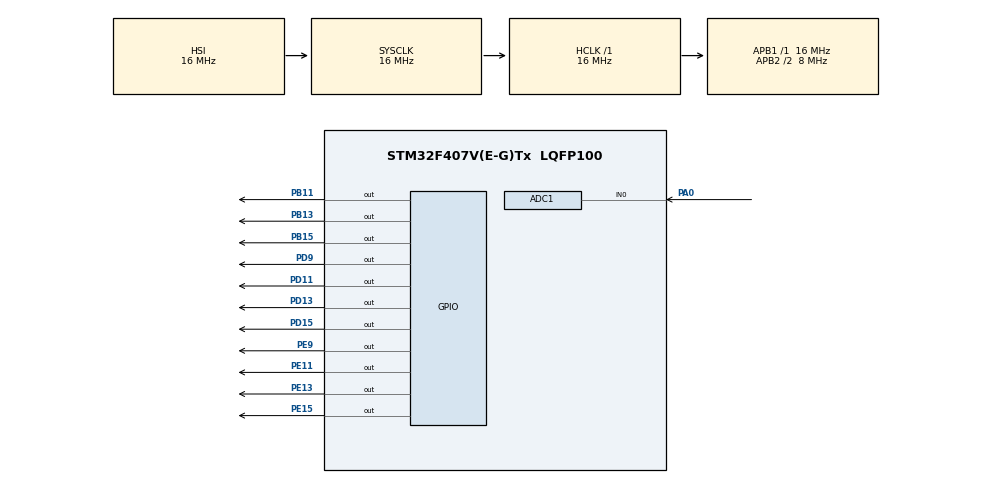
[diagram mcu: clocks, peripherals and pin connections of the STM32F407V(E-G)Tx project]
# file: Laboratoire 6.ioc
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ADC1.Channel-0\#ChannelRegularConversion=ADC_CHANNEL_0
ADC1.Channel-1\#ChannelInjectedConversion=ADC_CHANNEL_0
ADC1.ClockPrescaler=ADC_CLOCK_SYNC_PCLK_DIV2
ADC1.ContinuousConvMode=DISABLE
ADC1.DMAContinuousRequests=ENABLE
ADC1.DataAlign=ADC_DATAALIGN_RIGHT
ADC1.DiscontinuousConvMode=DISABLE
ADC1.EOCSelection=ADC_EOC_SINGLE_CONV
ADC1.EnableAnalogWatchDog=false
ADC1.ExternalTrigConv=ADC_SOFTWARE_START
ADC1.ExternalTrigConvEdge=ADC_EXTERNALTRIGCONVEDGE_NONE
ADC1.ExternalTrigInjecConv=ADC_INJECTED_SOFTWARE_START
ADC1.ExternalTrigInjecConvEdge=ADC_EXTERNALTRIGINJECCONVEDGE_NONE
ADC1.InjNumberOfConversion=1
ADC1.InjectedConvMode=None
ADC1.InjectedOffset-1\#ChannelInjectedConversion=0
ADC1.NbrOfConversion=1
ADC1.NbrOfConversionFlag=1
ADC1.Rank-0\#ChannelRegularConversion=1
ADC1.Rank-1\#ChannelInjectedConversion=1
ADC1.Resolution=ADC_RESOLUTION_12B
ADC1.SamplingTime-0\#ChannelRegularConversion=ADC_SAMPLETIME_3CYCLES
ADC1.SamplingTime-1\#ChannelInjectedConversion=ADC_SAMPLETIME_3CYCLES
ADC1.ScanConvMode=DISABLE
ADC1.master=1
Dma.ADC1.0.Direction=DMA_PERIPH_TO_MEMORY
Dma.ADC1.0.FIFOMode=DMA_FIFOMODE_DISABLE
Dma.ADC1.0.Instance=DMA2_Stream0
Dma.ADC1.0.MemDataAlignment=DMA_MDATAALIGN_HALFWORD
Dma.ADC1.0.MemInc=DMA_MINC_ENABLE
Dma.ADC1.0.Mode=DMA_CIRCULAR
Dma.ADC1.0.PeriphDataAlignment=DMA_PDATAALIGN_HALFWORD
Dma.ADC1.0.PeriphInc=DMA_PINC_DISABLE
Dma.ADC1.0.Priority=DMA_PRIORITY_VERY_HIGH
Dma.Request0=ADC1
Mcu.Family=STM32F4
Mcu.Name=STM32F407V(E-G)Tx
Mcu.Package=LQFP100
NVIC.DMA2_Stream0_IRQn=true\:0\:0\:false\:false\:true\:false
NVIC.PriorityGroup=NVIC_PRIORITYGROUP_4
NVIC.TIM2_IRQn=true\:0\:0\:false\:false\:true\:true
PA0-WKUP.Signal=ADCx_IN0
PB11.GPIO_ModeDefaultOutputPP=GPIO_MODE_OUTPUT_PP
PB11.GPIO_PuPd=GPIO_NOPULL
PB11.GPIO_Speed=GPIO_SPEED_FREQ_LOW
PB11.PinState=GPIO_PIN_RESET
PB11.Signal=GPIO_Output
PB13.GPIO_ModeDefaultOutputPP=GPIO_MODE_OUTPUT_PP
PB13.GPIO_PuPd=GPIO_NOPULL
PB13.GPIO_Speed=GPIO_SPEED_FREQ_LOW
PB13.PinState=GPIO_PIN_RESET
PB13.Signal=GPIO_Output
PB15.GPIO_ModeDefaultOutputPP=GPIO_MODE_OUTPUT_PP
PB15.GPIO_PuPd=GPIO_NOPULL
PB15.GPIO_Speed=GPIO_SPEED_FREQ_LOW
PB15.PinState=GPIO_PIN_RESET
PB15.Signal=GPIO_Output
PD11.GPIO_ModeDefaultOutputPP=GPIO_MODE_OUTPUT_PP
PD11.GPIO_PuPd=GPIO_NOPULL
PD11.GPIO_Speed=GPIO_SPEED_FREQ_LOW
PD11.PinState=GPIO_PIN_RESET
PD11.Signal=GPIO_Output
PD13.GPIO_ModeDefaultOutputPP=GPIO_MODE_OUTPUT_PP
PD13.GPIO_PuPd=GPIO_NOPULL
PD13.GPIO_Speed=GPIO_SPEED_FREQ_LOW
PD13.PinState=GPIO_PIN_RESET
PD13.Signal=GPIO_Output
PD15.GPIO_ModeDefaultOutputPP=GPIO_MODE_OUTPUT_PP
PD15.GPIO_PuPd=GPIO_NOPULL
PD15.GPIO_Speed=GPIO_SPEED_FREQ_LOW
PD15.PinState=GPIO_PIN_RESET
PD15.Signal=GPIO_Output
PD9.GPIO_ModeDefaultOutputPP=GPIO_MODE_OUTPUT_PP
PD9.GPIO_PuPd=GPIO_NOPULL
PD9.GPIO_Speed=GPIO_SPEED_FREQ_LOW
PD9.PinState=GPIO_PIN_RESET
PD9.Signal=GPIO_Output
PE11.GPIO_ModeDefaultOutputPP=GPIO_MODE_OUTPUT_PP
PE11.GPIO_PuPd=GPIO_NOPULL
PE11.GPIO_Speed=GPIO_SPEED_FREQ_LOW
PE11.PinState=GPIO_PIN_RESET
PE11.Signal=GPIO_Output
PE13.GPIO_ModeDefaultOutputPP=GPIO_MODE_OUTPUT_PP
PE13.GPIO_PuPd=GPIO_NOPULL
PE13.GPIO_Speed=GPIO_SPEED_FREQ_LOW
PE13.PinState=GPIO_PIN_RESET
PE13.Signal=GPIO_Output
PE15.GPIO_ModeDefaultOutputPP=GPIO_MODE_OUTPUT_PP
PE15.GPIO_PuPd=GPIO_NOPULL
PE15.GPIO_Speed=GPIO_SPEED_FREQ_LOW
PE15.PinState=GPIO_PIN_RESET
PE15.Signal=GPIO_Output
PE9.GPIO_ModeDefaultOutputPP=GPIO_MODE_OUTPUT_PP
PE9.GPIO_PuPd=GPIO_NOPULL
PE9.GPIO_Speed=GPIO_SPEED_FREQ_LOW
PE9.PinState=GPIO_PIN_RESET
PE9.Signal=GPIO_Output
ProjectManager.HeapSize=0x200
ProjectManager.StackSize=0x400
ProjectManager.TargetToolchain=MDK-ARM V5
RCC.AHBFreq_Value=16000000
RCC.APB1Freq_Value=16000000
RCC.APB1TimFreq_Value=16000000
RCC.APB2CLKDivider=RCC_HCLK_DIV2
RCC.APB2Freq_Value=8000000
RCC.APB2TimFreq_Value=16000000
RCC.CortexFreq_Value=16000000
RCC.HCLKFreq_Value=16000000
RCC.HSE_VALUE=25000000
RCC.HSI_VALUE=16000000
RCC.LSE_VALUE=32768
RCC.SYSCLKFreq_VALUE=16000000
RCC.VCOOutputFreq_Value=192000000
SH.ADCx_IN0.0=ADC1_IN0,IN0
TIM2.Period=100
TIM2.Prescaler=16
VP_TIM2_VS_ClockSourceINT.Mode=Internal
board=custom

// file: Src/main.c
/**
  ******************************************************************************
  * @file           : main.c
  * @brief          : Main program body
  ******************************************************************************
  ** This notice applies to any and all portions of this file
  * that are not between comment pairs USER CODE BEGIN and
  * USER CODE END. Other portions of this file, whether
  * inserted by the user or by software development tools
  * are owned by their respective copyright owners.
  *
  * COPYRIGHT(c) 2018 STMicroelectronics
  *
  * Redistribution and use in source and binary forms, with or without modification,
  * are permitted provided that the following conditions are met:
  *   1. Redistributions of source code must retain the above copyright notice,
  *      this list of conditions and the following disclaimer.
  *   2. Redistributions in binary form must reproduce the above copyright notice,
  *      this list of conditions and the following disclaimer in the documentation
  *      and/or other materials provided with the distribution.
  *   3. Neither the name of STMicroelectronics nor the names of its contributors
  *      may be used to endorse or promote products derived from this software
  *      without specific prior written permission.
  *
  * THIS SOFTWARE IS PROVIDED BY THE COPYRIGHT HOLDERS AND CONTRIBUTORS "AS IS"
  * AND ANY EXPRESS OR IMPLIED WARRANTIES, INCLUDING, BUT NOT LIMITED TO, THE
  * IMPLIED WARRANTIES OF MERCHANTABILITY AND FITNESS FOR A PARTICULAR PURPOSE ARE
  * DISCLAIMED. IN NO EVENT SHALL THE COPYRIGHT HOLDER OR CONTRIBUTORS BE LIABLE
  * FOR ANY DIRECT, INDIRECT, INCIDENTAL, SPECIAL, EXEMPLARY, OR CONSEQUENTIAL
  * DAMAGES (INCLUDING, BUT NOT LIMITED TO, PROCUREMENT OF SUBSTITUTE GOODS OR
  * SERVICES; LOSS OF USE, DATA, OR PROFITS; OR BUSINESS INTERRUPTION) HOWEVER
  * CAUSED AND ON ANY THEORY OF LIABILITY, WHETHER IN CONTRACT, STRICT LIABILITY,
  * OR TORT (INCLUDING NEGLIGENCE OR OTHERWISE) ARISING IN ANY WAY OUT OF THE USE
  * OF THIS SOFTWARE, EVEN IF ADVISED OF THE POSSIBILITY OF SUCH DAMAGE.
  *
  ******************************************************************************
  */
#include "main.h"
#include "stm32f4xx_hal.h"
#include "adc.h"
#include "dma.h"
#include "tim.h"
#include "gpio.h"

/* USER CODE BEGIN Includes */
#include "lcd.h"
#include <stdlib.h>
#include <stdio.h>
#include <math.h>
/* USER CODE END Includes */

/* USER CODE BEGIN PV */
/* Private variables ---------------------------------------------------------*/
extern TIM_HandleTypeDef htim1;
uint16_t pData[NBECHANTILLON];  //trop gros à définir avec un malloc
uint8_t endOfSamplingFlag;

double RMS=0;
/* USER CODE END PV */

void SystemClock_Config(void);

/* USER CODE BEGIN PFP */
/* Private function prototypes -----------------------------------------------*/

/* USER CODE END PFP */

int main(void)
{

  /* MCU Configuration----------------------------------------------------------*/

  /* Reset of all peripherals, Initializes the Flash interface and the Systick. */
  HAL_Init();

  /* Configure the system clock */
  SystemClock_Config();

  /* Initialize all configured peripherals */
  MX_GPIO_Init();
  MX_DMA_Init();
  MX_ADC1_Init();
  MX_TIM2_Init();
  /* USER CODE BEGIN 2 */
	InitLCD();
	HAL_TIM_Base_Start_IT(&htim2);
	HAL_ADC_Start_DMA(&hadc1, (uint32_t*)(pData), NBECHANTILLON);  //configure Data pointer for ADC with DMA
  /* USER CODE END 2 */

  /* Infinite loop */
  /* USER CODE BEGIN WHILE */
	//float RMS=0;
	double Somme_Carre=0;
	int Nb_Ech=NBECHANTILLON;
	//double RMS=0;

  while (1)
  {

		if(endOfSamplingFlag==FLAG_Data_Sampled_Ready){
				HAL_TIM_Base_Start_IT(&htim2); 					//disable interrupt to protect datas sampled
				Somme_Carre=0;
				RMS=0;
				uint16_t i = 0;
				double temp=0;
				for(i=0;i<Nb_Ech;i++){									//calculation of square sum
					temp=pData[i]*3.3/4096;
					Somme_Carre+=temp*temp;
				}

				RMS=sqrt((double)(Somme_Carre/256));			//calculation of RMS
				AfficheRMS(RMS);													//Print RMS on LCD

				endOfSamplingFlag=FLAG_Data_Sampled_NotReady;				//Data
				HAL_Delay(300);  																//wait 300ms before next acquisition
				HAL_TIM_Base_Start_IT(&htim2); 									//enable interrupt to save new datas : new rms in calcuation
		}

  /* USER CODE END WHILE */

  }

}

void SystemClock_Config(void)
{

  RCC_OscInitTypeDef RCC_OscInitStruct;
  RCC_ClkInitTypeDef RCC_ClkInitStruct;

    /**Configure the main internal regulator output voltage
    */
  __HAL_RCC_PWR_CLK_ENABLE();

  __HAL_PWR_VOLTAGESCALING_CONFIG(PWR_REGULATOR_VOLTAGE_SCALE1);

    /**Initializes the CPU, AHB and APB busses clocks
    */
  RCC_OscInitStruct.OscillatorType = RCC_OSCILLATORTYPE_HSI;
  RCC_OscInitStruct.HSIState = RCC_HSI_ON;
  RCC_OscInitStruct.HSICalibrationValue = 16;
  RCC_OscInitStruct.PLL.PLLState = RCC_PLL_NONE;
  if (HAL_RCC_OscConfig(&RCC_OscInitStruct) != HAL_OK)
  {
    _Error_Handler(__FILE__, __LINE__);
  }

    /**Initializes the CPU, AHB and APB busses clocks
    */
  RCC_ClkInitStruct.ClockType = RCC_CLOCKTYPE_HCLK|RCC_CLOCKTYPE_SYSCLK
                              |RCC_CLOCKTYPE_PCLK1|RCC_CLOCKTYPE_PCLK2;
  RCC_ClkInitStruct.SYSCLKSource = RCC_SYSCLKSOURCE_HSI;
  RCC_ClkInitStruct.AHBCLKDivider = RCC_SYSCLK_DIV1;
  RCC_ClkInitStruct.APB1CLKDivider = RCC_HCLK_DIV1;
  RCC_ClkInitStruct.APB2CLKDivider = RCC_HCLK_DIV2;

  if (HAL_RCC_ClockConfig(&RCC_ClkInitStruct, FLASH_LATENCY_0) != HAL_OK)
  {
    _Error_Handler(__FILE__, __LINE__);
  }

    /**Configure the Systick interrupt time
    */
  HAL_SYSTICK_Config(HAL_RCC_GetHCLKFreq()/1000);

    /**Configure the Systick
    */
  HAL_SYSTICK_CLKSourceConfig(SYSTICK_CLKSOURCE_HCLK);

  /* SysTick_IRQn interrupt configuration */
  HAL_NVIC_SetPriority(SysTick_IRQn, 0, 0);
}

void _Error_Handler(char *file, int line)
{
  while(1)
  {
  }
}

/************************ (C) COPYRIGHT STMicroelectronics *****END OF FILE****/
